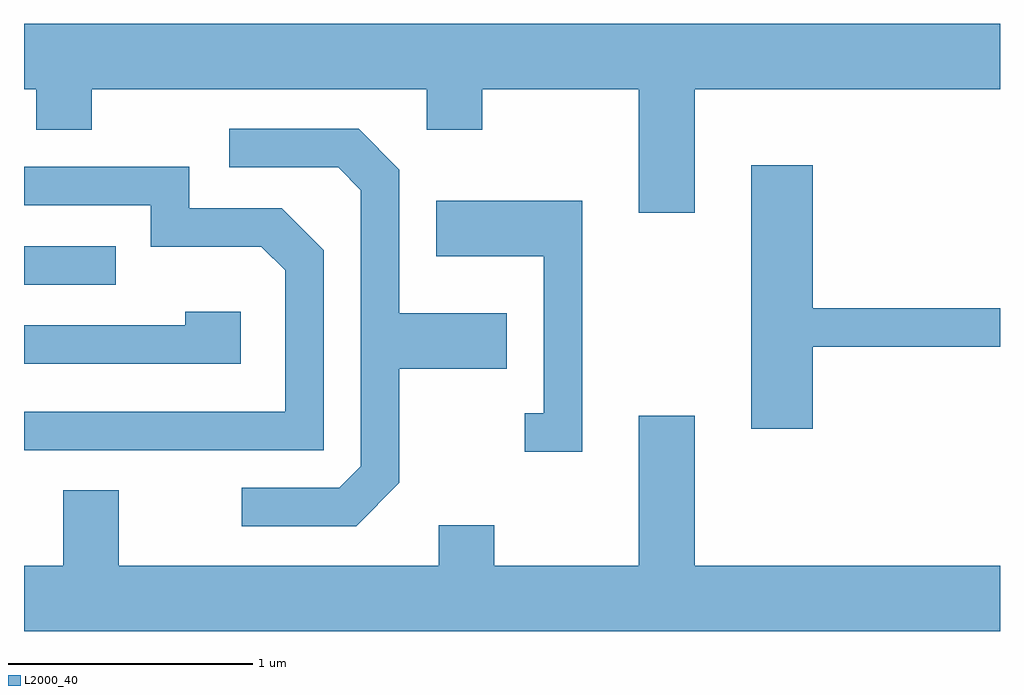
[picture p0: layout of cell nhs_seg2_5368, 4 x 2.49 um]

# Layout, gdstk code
import gdstk
lib = gdstk.Library(unit=1e-6, precision=1e-09)
def R(c, l, rs):  # rectangles x0, y0, x1, y1
    for r in rs: c.add(gdstk.rectangle(r[:2], r[2:], *l))
def P(c, l, *ps):  # polygons
    for p in ps: c.add(gdstk.Polygon(p, *l))
L2000_40 = (2000, 40)

nhs_seg2_5368 = lib.new_cell('nhs_seg2_5368')
R(nhs_seg2_5368, L2000_40, [(343.611,1031.976,343.988,1032.134)])
P(nhs_seg2_5368, L2000_40, [(346.359,1032.776),(347.611,1032.776),(347.611,1033.044),(343.611,1033.044),(343.611,1032.776),(343.661,1032.776),(343.661,1032.611),(343.889,1032.611),(343.889,1032.776),(345.261,1032.776),(345.261,1032.611),(345.489,1032.611),(345.489,1032.776),(346.131,1032.776),(346.131,1032.271),(346.359,1032.271)],
  [(345.149,1031.164),(345.149,1031.631),(345.589,1031.631),(345.589,1031.859),(345.149,1031.859),(345.149,1032.447),(344.982,1032.614),(344.453,1032.614),(344.453,1032.456),(344.899,1032.456),(344.991,1032.363),(344.991,1031.232),(344.904,1031.144),(344.503,1031.144),(344.503,1030.986),(344.972,1030.986)],
  [(346.844,1031.721),(347.611,1031.721),(347.611,1031.879),(346.844,1031.879),(346.844,1032.464),(346.591,1032.464),(346.591,1031.386),(346.844,1031.386)],
  [(344.839,1032.117),(344.667,1032.289),(344.289,1032.289),(344.289,1032.459),(343.611,1032.459),(343.611,1032.301),(344.131,1032.301),(344.131,1032.131),(344.584,1032.131),(344.681,1032.034),(344.681,1031.454),(343.611,1031.454),(343.611,1031.296),(344.839,1031.296)],
  [(345.899,1032.319),(345.301,1032.319),(345.301,1032.091),(345.741,1032.091),(345.741,1031.449),(345.663,1031.449),(345.663,1031.291),(345.899,1031.291)],
  [(344.499,1031.864),(344.271,1031.864),(344.271,1031.809),(343.611,1031.809),(343.611,1031.651),(344.499,1031.651)],
  [(347.611,1030.824),(346.359,1030.824),(346.359,1031.439),(346.131,1031.439),(346.131,1030.824),(345.539,1030.824),(345.539,1030.989),(345.311,1030.989),(345.311,1030.824),(343.999,1030.824),(343.999,1031.134),(343.771,1031.134),(343.771,1030.824),(343.611,1030.824),(343.611,1030.556),(347.611,1030.556)])

lib.write_gds('nhs_seg2_5368.gds')
